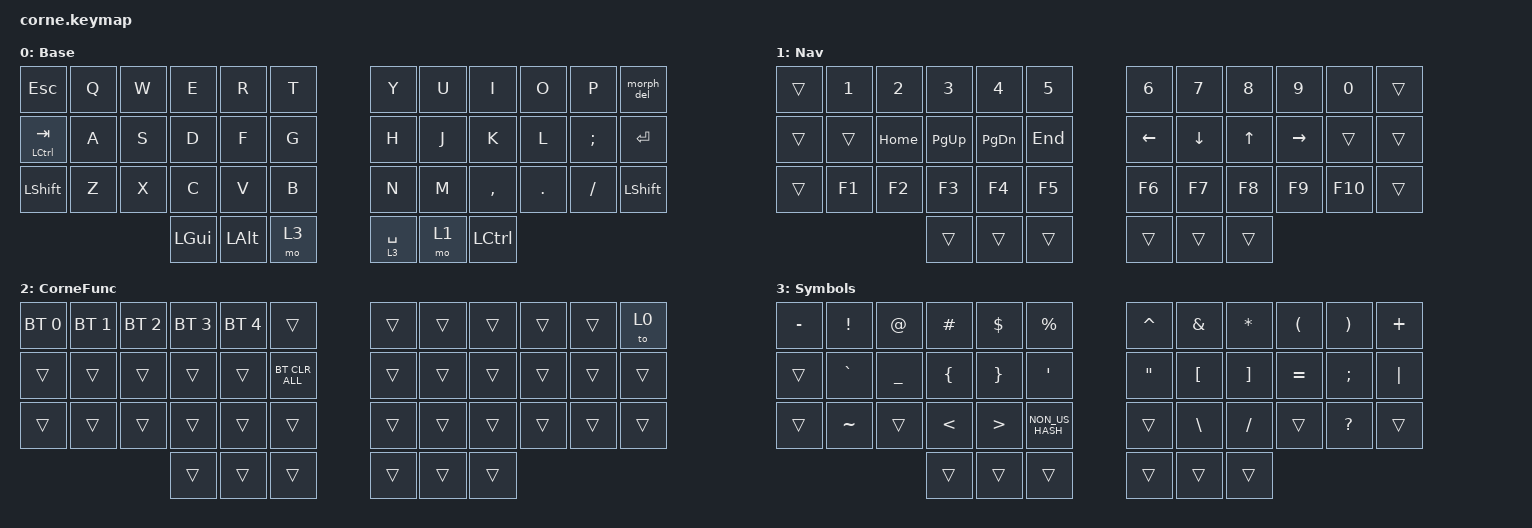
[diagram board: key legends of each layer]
/*
 * Copyright (c) 2020 The ZMK Contributors
 *
 * SPDX-License-Identifier: MIT
 */

#include <behaviors.dtsi>
#include <dt-bindings/zmk/bt.h>
#include <dt-bindings/zmk/keys.h>

/ {
    behaviors {
        bhm: balanced_homerow_mods {
            compatible = "zmk,behavior-hold-tap";
            #binding-cells = <2>;
            tapping-term-ms = <200>;    // <---[[moderate duration]]
            quick-tap-ms = <0>;
            flavor = "balanced";
            bindings = <&kp>, <&kp>;
        };
        bhm_space: bhm_space {
            compatible = "zmk,behavior-hold-tap";
            #binding-cells = <2>;
            tapping-term-ms = <150>;    // <---[[moderate duration]]
            quick-tap-ms = <0>;
            flavor = "balanced";
            bindings = <&kp>, <&kp>;
        };

        bhm_space_sym: bhm_space_sym {
            compatible = "zmk,behavior-hold-tap";
            #binding-cells = <2>;
            tapping-term-ms = <150>;
            quick-tap-ms = <0>;
            flavor = "balanced";
            bindings = <&mo>, <&kp>;  // <-- mo for hold, kp for tap
        };

        morph_del: morph_del {
            compatible = "zmk,behavior-mod-morph";
            bindings = <&kp BACKSPACE>, <&kp DEL>;

            #binding-cells = <0>;
            mods = <(MOD_RALT)>;
        };
    };

    keymap {
        compatible = "zmk,keymap";

        Base {
            bindings = <
&kp ESC         &kp Q  &kp W  &kp E         &kp R          &kp T             &kp Y          &kp U          &kp I      &kp O    &kp P     &morph_del

&bhm LCTRL TAB  &kp A  &kp S  &kp D         &kp F          &kp G             &kp H          &kp J          &kp K      &kp L    &kp SEMI  &kp ENTER

&kp LSHIFT      &kp Z  &kp X  &kp C         &kp V          &kp B             &kp N          &kp M          &kp COMMA  &kp DOT  &kp FSLH  &kp LSHIFT

                          &kp LEFT_GUI      &kp LEFT_ALT   &mo 3             &bhm_space_sym 3 SPACE        &mo 1      &kp LCTRL  
            >;
        };

        Nav {
            bindings = <
&trans   &kp N1     &kp N2     &kp N3      &kp N4     &kp N5           &kp N6       &kp N7     &kp N8   &kp N9      &kp N0   &trans

&trans   &trans     &kp HOME   &kp PG_UP   &kp PG_DN  &kp END          &kp LEFT     &kp DOWN   &kp UP   &kp RIGHT   &trans   &trans

&trans   &kp F1     &kp F2     &kp F3      &kp F4     &kp F5           &kp F6       &kp F7     &kp F8   &kp F9      &kp F10  &trans

                               &trans      &trans     &trans           &trans       &trans     &trans
            >;
        };

        CorneFunc {
            bindings = <
&bt BT_SEL 0  &bt BT_SEL 1  &bt BT_SEL 2  &bt BT_SEL 3  &bt BT_SEL 4  &trans            &trans  &trans  &trans  &trans  &trans  &to 0

&trans        &trans        &trans        &trans        &trans        &bt BT_CLR_ALL    &trans  &trans  &trans  &trans  &trans  &trans

&trans        &trans        &trans        &trans        &trans        &trans            &trans  &trans  &trans  &trans  &trans  &trans

                                          &trans        &trans        &trans            &trans  &trans  &trans
            >;
        };

        Symbols {
            bindings = <
&kp MINUS  &kp EXCLAMATION &kp AT_SIGN     &kp HASH          &kp DOLLAR         &kp PERCENT               &kp CARET           &kp AMPERSAND     &kp ASTERISK           &kp LEFT_PARENTHESIS    &kp RIGHT_PARENTHESIS    &kp PLUS

&trans     &kp GRAVE       &kp UNDERSCORE  &kp LEFT_BRACE    &kp RIGHT_BRACE    &kp SINGLE_QUOTE          &kp DOUBLE_QUOTES   &kp LEFT_BRACKET  &kp RIGHT_BRACKET      &kp EQUAL               &kp SEMICOLON            &kp PIPE

&trans     &kp TILDE       &trans          &kp LESS_THAN     &kp GREATER_THAN   &kp NON_US_HASH           &trans              &kp BACKSLASH     &kp SLASH              &trans                  &kp QUESTION             &trans

                                     &trans                   &trans              &trans                    &trans              &trans            &trans
            >;
        };
    };
};
